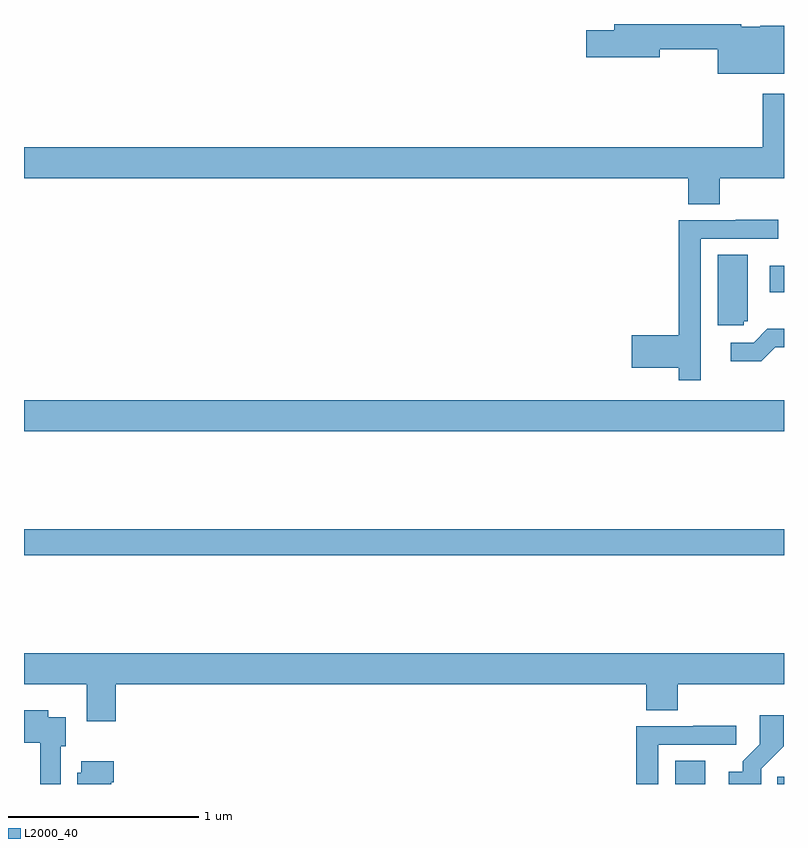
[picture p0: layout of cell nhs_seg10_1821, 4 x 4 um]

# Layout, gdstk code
import gdstk
lib = gdstk.Library(unit=1e-6, precision=1e-09)
def R(c, l, rs):  # rectangles x0, y0, x1, y1
    for r in rs: c.add(gdstk.rectangle(r[:2], r[2:], *l))
def P(c, l, *ps):  # polygons
    for p in ps: c.add(gdstk.Polygon(p, *l))
L2000_40 = (2000, 40)

nhs_seg10_1821 = lib.new_cell('nhs_seg10_1821')
R(nhs_seg10_1821, L2000_40, [(210.428,1258.5,210.586,1258.622), (210.964,1258.5,211,1258.538), (207,1259.704,211,1259.84), (207,1260.356,211,1260.52), (210.924,1261.088,211,1261.228)])
P(nhs_seg10_1821, L2000_40, [(211,1262.491),(210.876,1262.491),(210.876,1262.485),(210.776,1262.485),(210.776,1262.5),(210.107,1262.5),(210.107,1262.468),(209.958,1262.468),(209.958,1262.326),(210.346,1262.326),(210.346,1262.368),(210.65,1262.368),(210.65,1262.237),(211,1262.237)],
  [(210.662,1261.688),(211,1261.688),(211,1262.134),(210.888,1262.134),(210.888,1261.852),(207,1261.852),(207,1261.688),(210.497,1261.688),(210.497,1261.552),(210.662,1261.552)],
  [(210.562,1260.846),(210.561,1260.846),(210.561,1261.371),(210.97,1261.371),(210.97,1261.47),(210.745,1261.47),(210.745,1261.467),(210.445,1261.467),(210.445,1260.863),(210.198,1260.863),(210.198,1260.692),(210.445,1260.692),(210.445,1260.624),(210.562,1260.624)],
  [(210.789,1260.936),(210.808,1260.936),(210.808,1261.285),(210.65,1261.285),(210.65,1260.915),(210.789,1260.915)],
  [(210.954,1260.798),(211,1260.798),(211,1260.895),(210.913,1260.895),(210.84,1260.822),(210.72,1260.822),(210.72,1260.725),(210.881,1260.725)],
  [(207.482,1259.024),(210.275,1259.024),(210.275,1258.888),(210.44,1258.888),(210.44,1259.024),(211,1259.024),(211,1259.188),(207,1259.188),(207,1259.024),(207.329,1259.024),(207.329,1258.83),(207.482,1258.83)],
  [(207.193,1258.698),(207.22,1258.698),(207.22,1258.852),(207.127,1258.852),(207.127,1258.888),(207,1258.888),(207,1258.718),(207.086,1258.718),(207.086,1258.5),(207.193,1258.5)],
  [(210.879,1258.579),(210.998,1258.698),(210.998,1258.861),(210.873,1258.861),(210.873,1258.709),(210.782,1258.619),(210.782,1258.564),(210.71,1258.564),(210.71,1258.5),(210.879,1258.5)],
  [(210.339,1258.707),(210.748,1258.707),(210.748,1258.806),(210.523,1258.806),(210.523,1258.803),(210.223,1258.803),(210.223,1258.5),(210.339,1258.5)],
  [(207.46,1258.508),(207.473,1258.508),(207.473,1258.621),(207.302,1258.621),(207.302,1258.56),(207.281,1258.56),(207.281,1258.5),(207.46,1258.5)])

lib.write_gds('nhs_seg10_1821.gds')
